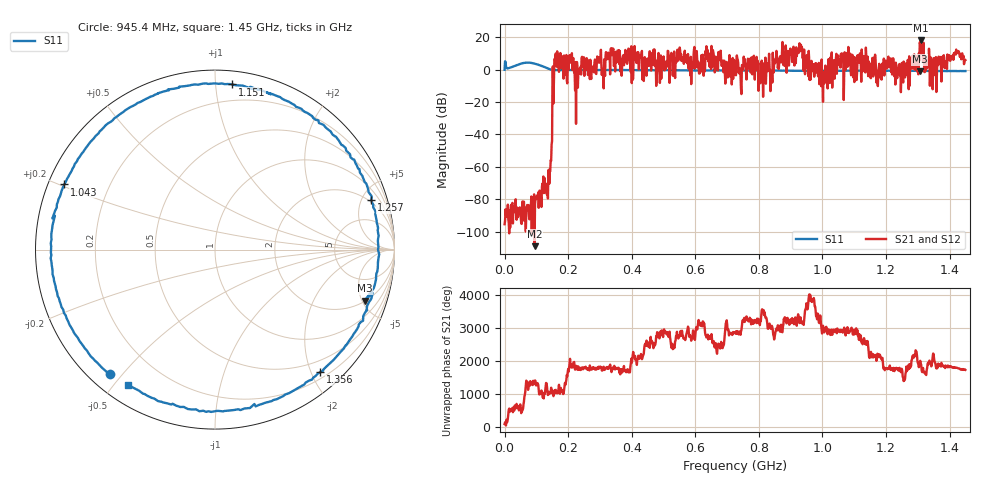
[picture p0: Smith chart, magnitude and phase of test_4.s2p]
! Created with skrf 1.11.0 (http://scikit-rf.org).
# Hz S RI R 50.0
!freq ReS11 ImS11 ReS21 ImS21 ReS12 ImS12 ReS22 ImS22
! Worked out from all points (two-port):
!   1001 points, 50 kHz to 1.45 GHz, reference 50 ohm
!   highest |S21| = 17.92 dB at 1.309 GHz (marker M1); lowest = -108.9 dB at 94.3 MHz (marker M2)
!   |S21| within 3 dB of the highest: 1.306227 GHz to 1.311133 GHz (4.906 MHz wide, 0.375 % of centre); 1.31365 GHz to 1.315235 GHz (1.585 MHz wide, 0.121 % of centre) (the widest 2 of 6)
!   lowest |S11| = -1.1 dB at 1.306 GHz (marker M3), VSWR 15.89, Z = 103 - j263 ohm
!   |S11| at or under -10 dB: nowhere
!   |S22| runs from - to - dB; largest |S21 - S12| = 0
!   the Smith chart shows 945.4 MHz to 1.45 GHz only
!   S11 on the Smith chart (normalised r, x): 945.4 MHz: 0.06, -0.46; 1.043 GHz: 0.05, +0.21; 1.151 GHz: 0.09, +1.10; 1.257 GHz: 1.78, +5.95; 1.356 GHz: 0.30, -2.14; 1.45 GHz: 0.07, -0.54
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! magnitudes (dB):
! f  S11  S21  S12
! 50 kHz  -0.2  -95.3  -95.3
! 94.3 MHz  3.7  -108.9  -108.9
! 139.2 MHz  0.4  -61.8  -61.8
! 158.1 MHz  -0.4  6.1  6.1
! 162.4 MHz  -0.3  4.5  4.5
! 210.3 MHz  -0.3  5.5  5.5
! 226.2 MHz  -0.3  1.1  1.1
! 242.2 MHz  -0.3  6.7  6.7
! 484.3 MHz  -0.4  10.2  10.2
! 725 MHz  -0.6  3.7  3.7
! 806.2 MHz  -0.5  4.1  4.1
! 929.5 MHz  -0.8  14.1  14.1
! 945.4 MHz  -0.8  -2.9  -2.9
! 967.2 MHz  -0.8  3.4  3.4
! 1.043 GHz  -0.8  6.7  6.7
! 1.151 GHz  -0.7  -5.1  -5.1
! 1.209 GHz  -0.7  1.7  1.7
! 1.257 GHz  -0.8  2.3  2.3
! 1.306 GHz  -1.1  16.7  16.7
! 1.309 GHz  -0.8  17.9  17.9
! 1.356 GHz  -0.9  1.3  1.3
! 1.45 GHz  -0.9  5.8  5.8
